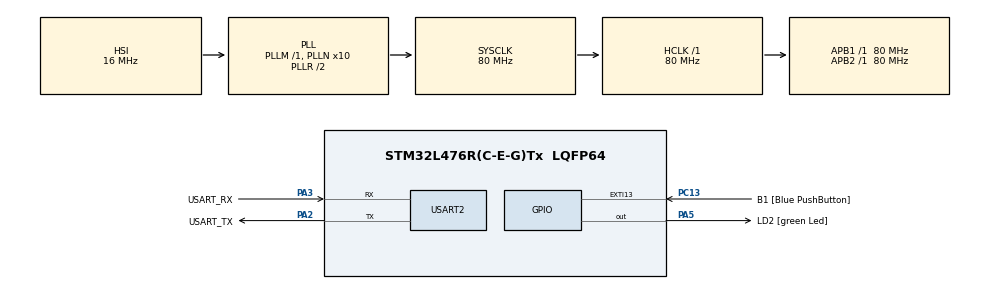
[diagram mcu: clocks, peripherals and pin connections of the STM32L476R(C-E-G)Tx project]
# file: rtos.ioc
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FREERTOS.Tasks01=defaultTask,0,128,StartDefaultTask,Default,NULL
Mcu.Family=STM32L4
Mcu.Name=STM32L476R(C-E-G)Tx
Mcu.Package=LQFP64
NVIC.PriorityGroup=NVIC_PRIORITYGROUP_4
PA13\ (JTMS-SWDIO).GPIO_Label=TMS
PA13\ (JTMS-SWDIO).Mode=Serial_Wire
PA13\ (JTMS-SWDIO).Signal=SYS_JTMS-SWDIO
PA14\ (JTCK-SWCLK).GPIO_Label=TCK
PA14\ (JTCK-SWCLK).Mode=Serial_Wire
PA14\ (JTCK-SWCLK).Signal=SYS_JTCK-SWCLK
PA2.GPIO_Label=USART_TX
PA2.GPIO_Mode=GPIO_MODE_AF_PP
PA2.GPIO_PuPd=GPIO_NOPULL
PA2.GPIO_Speed=GPIO_SPEED_FREQ_VERY_HIGH
PA2.Mode=Asynchronous
PA2.Signal=USART2_TX
PA3.GPIO_Label=USART_RX
PA3.GPIO_Mode=GPIO_MODE_AF_PP
PA3.GPIO_PuPd=GPIO_NOPULL
PA3.GPIO_Speed=GPIO_SPEED_FREQ_VERY_HIGH
PA3.Mode=Asynchronous
PA3.Signal=USART2_RX
PA5.GPIO_Label=LD2 [green Led]
PA5.GPIO_ModeDefaultOutputPP=GPIO_MODE_OUTPUT_PP
PA5.GPIO_PuPd=GPIO_NOPULL
PA5.GPIO_Speed=GPIO_SPEED_FREQ_LOW
PA5.Signal=GPIO_Output
PB3\ (JTDO-TRACESWO).GPIO_Label=SWO
PB3\ (JTDO-TRACESWO).Signal=SYS_JTDO-SWO
PC13.GPIO_Label=B1 [Blue PushButton]
PC13.GPIO_ModeDefaultEXTI=GPIO_MODE_IT_FALLING
PC13.GPIO_PuPd=GPIO_NOPULL
PC13.Signal=GPXTI13
PC14-OSC32_IN\ (PC14).Mode=LSE-External-Oscillator
PC14-OSC32_IN\ (PC14).Signal=RCC_OSC32_IN
PC15-OSC32_OUT\ (PC15).Mode=LSE-External-Oscillator
PC15-OSC32_OUT\ (PC15).Signal=RCC_OSC32_OUT
PH0-OSC_IN\ (PH0).Signal=RCC_OSC_IN
PH1-OSC_OUT\ (PH1).Signal=RCC_OSC_OUT
ProjectManager.HeapSize=0x200
ProjectManager.StackSize=0x400
ProjectManager.TargetToolchain=MDK-ARM V5
RCC.ADCFreq_Value=64000000
RCC.AHBFreq_Value=80000000
RCC.APB1Freq_Value=80000000
RCC.APB1TimFreq_Value=80000000
RCC.APB2Freq_Value=80000000
RCC.APB2TimFreq_Value=80000000
RCC.CortexFreq_Value=80000000
RCC.HCLKFreq_Value=80000000
RCC.HSE_VALUE=8000000
RCC.HSI_VALUE=16000000
RCC.MSI_VALUE=4000000
RCC.PLLN=10
RCC.PLLSourceVirtual=RCC_PLLSOURCE_HSI
RCC.PREFETCH_ENABLE=1
RCC.SYSCLKFreq_VALUE=80000000
RCC.SYSCLKSource=RCC_SYSCLKSOURCE_PLLCLK
RCC.USBFreq_Value=64000000
RCC.VCOOutputFreq_Value=160000000
USART2.VirtualMode-Asynchronous=VM_ASYNC
VP_FREERTOS_VS_CMSIS_V1.Mode=CMSIS_V1
board=NUCLEO-L476RG

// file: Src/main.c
/* USER CODE BEGIN Header */
/**
  ******************************************************************************
  * @file           : main.c
  * @brief          : Main program body
  ******************************************************************************
  * @attention
  *
  * <h2><center>&copy; Copyright (c) 2019 STMicroelectronics.
  * All rights reserved.</center></h2>
  *
  * This software component is licensed by ST under Ultimate Liberty license
  * SLA0044, the "License"; You may not use this file except in compliance with
  * the License. You may obtain a copy of the License at:
  *                             www.st.com/SLA0044
  *
  ******************************************************************************
  */
/* USER CODE END Header */

#include "main.h"
#include "cmsis_os.h"
#include "usart.h"
#include "gpio.h"
#include "stm32l4xx.h"                  // Device header
#include "RTE_Components.h"             // Component selection

/* USER CODE BEGIN Includes */
//static void LED_Thread1(void const *argument);
//static void LED_Thread2(void const *argument);
/* USER CODE END Includes */

/* USER CODE BEGIN PV */
typedef enum
{
	THREAD_1 = 0,
	THREAD_2
} Thread_TypeDef;

osThreadId LEDThreadHandle, LEDThread2Handle;

/* USER CODE END PV */

void SystemClock_Config(void);
void MX_FREERTOS_Init(void);
void Error_Handler(void);
/* USER CODE BEGIN PFP */
static void LED_ON(void);
static void LED_OFF(void);
void LED_Thread1(void const *argument);
void LED_Thread2(void const *argument);

/* USER CODE END PFP */

int main(void)
{

  /* MCU Configuration--------------------------------------------------------*/

  /* Reset of all peripherals, Initializes the Flash interface and the Systick. */
  HAL_Init();

  /* Configure the system clock */
  SystemClock_Config();

  /* Initialize all configured peripherals */
  MX_GPIO_Init();
  MX_USART2_UART_Init();
  /* USER CODE BEGIN 2 */
// thread 1 definition
osThreadDef(THREAD_1, LED_Thread1, osPriorityNormal, 0, configMINIMAL_STACK_SIZE);

// thread 2 definition

osThreadDef(THREAD_2, LED_Thread2, osPriorityNormal, 0, configMINIMAL_STACK_SIZE);

// Start thread 1
LEDThread2Handle = osThreadCreate(osThread(THREAD_1), NULL);

// Start thread 1
LEDThread2Handle = osThreadCreate(osThread(THREAD_1), NULL);
  /* USER CODE END 2 */

  /* Call init function for freertos objects (in freertos.c) */
  MX_FREERTOS_Init();

  /* Start scheduler */
  osKernelStart();

  /* We should never get here as control is now taken by the scheduler */

  /* Infinite loop */
  while (1)
  {

  }
}

void SystemClock_Config(void)
{
  RCC_OscInitTypeDef RCC_OscInitStruct = {0};
  RCC_ClkInitTypeDef RCC_ClkInitStruct = {0};
  RCC_PeriphCLKInitTypeDef PeriphClkInit = {0};

  /** Initializes the CPU, AHB and APB busses clocks
  */
  RCC_OscInitStruct.OscillatorType = RCC_OSCILLATORTYPE_HSI;
  RCC_OscInitStruct.HSIState = RCC_HSI_ON;
  RCC_OscInitStruct.HSICalibrationValue = RCC_HSICALIBRATION_DEFAULT;
  RCC_OscInitStruct.PLL.PLLState = RCC_PLL_ON;
  RCC_OscInitStruct.PLL.PLLSource = RCC_PLLSOURCE_HSI;
  RCC_OscInitStruct.PLL.PLLM = 1;
  RCC_OscInitStruct.PLL.PLLN = 10;
  RCC_OscInitStruct.PLL.PLLP = RCC_PLLP_DIV7;
  RCC_OscInitStruct.PLL.PLLQ = RCC_PLLQ_DIV2;
  RCC_OscInitStruct.PLL.PLLR = RCC_PLLR_DIV2;
  if (HAL_RCC_OscConfig(&RCC_OscInitStruct) != HAL_OK)
  {
    Error_Handler();
  }
  /** Initializes the CPU, AHB and APB busses clocks
  */
  RCC_ClkInitStruct.ClockType = RCC_CLOCKTYPE_HCLK|RCC_CLOCKTYPE_SYSCLK
                              |RCC_CLOCKTYPE_PCLK1|RCC_CLOCKTYPE_PCLK2;
  RCC_ClkInitStruct.SYSCLKSource = RCC_SYSCLKSOURCE_PLLCLK;
  RCC_ClkInitStruct.AHBCLKDivider = RCC_SYSCLK_DIV1;
  RCC_ClkInitStruct.APB1CLKDivider = RCC_HCLK_DIV1;
  RCC_ClkInitStruct.APB2CLKDivider = RCC_HCLK_DIV1;

  if (HAL_RCC_ClockConfig(&RCC_ClkInitStruct, FLASH_LATENCY_4) != HAL_OK)
  {
    Error_Handler();
  }
  PeriphClkInit.PeriphClockSelection = RCC_PERIPHCLK_USART2;
  PeriphClkInit.Usart2ClockSelection = RCC_USART2CLKSOURCE_PCLK1;
  if (HAL_RCCEx_PeriphCLKConfig(&PeriphClkInit) != HAL_OK)
  {
    Error_Handler();
  }
  /** Configure the main internal regulator output voltage
  */
  if (HAL_PWREx_ControlVoltageScaling(PWR_REGULATOR_VOLTAGE_SCALE1) != HAL_OK)
  {
    Error_Handler();
  }
}

/* USER CODE BEGIN 4 */
 void LED_Thread1(void const *argument)
 {
	 uint32_t count = 0;
	 (void) argument;

	 for(;;)
	 {
		 count = osKernelSysTick() + 5000;
		 while(count >= osKernelSysTick())
		{
			LED_ON();
			osDelay(80);
			LED_OFF();
			osDelay(80);
			LED_ON();
			osDelay(80);
			LED_OFF();
			osDelay(1500);
		}
		//turn off led 2
		LED_OFF();

		//Suspend thread
		osThreadSuspend(NULL);
		count = osKernelSysTick() + 5000;
		while(count>= osKernelSysTick())
		{
			LED_ON();
			osDelay(1000);
			LED_OFF();
			osDelay(500);
		}
		// resume thread 2
		osThreadResume(LEDThread2Handle);
	}
}

//Thread 2
void LED_Thread2(void const *argument)
 {
	 uint32_t count;
	 (void) argument;

	 for(;;)
	 {
		 count = osKernelSysTick() + 10000;
		 while(count >= osKernelSysTick())
		{
			LED_ON();
			osDelay(100);
			LED_OFF();
			osDelay(100);
			LED_ON();
			osDelay(100);
			LED_OFF();
			osDelay(1000);
		}
		//turn off led 2
		LED_OFF();
		// resume thread 2
		osThreadResume(LEDThread2Handle);
		//Suspend thread
		osThreadSuspend(NULL);
	}
}
static void LED_ON(void)
{
	HAL_GPIO_WritePin(LD2_GPIO_Port, LD2_Pin, GPIO_PIN_SET);
}
static void LED_OFF(void)
{
	HAL_GPIO_WritePin(LD2_GPIO_Port, LD2_Pin, GPIO_PIN_RESET);
}

/* USER CODE END 4 */

void Error_Handler(void)
{
}

/************************ (C) COPYRIGHT STMicroelectronics *****END OF FILE****/
